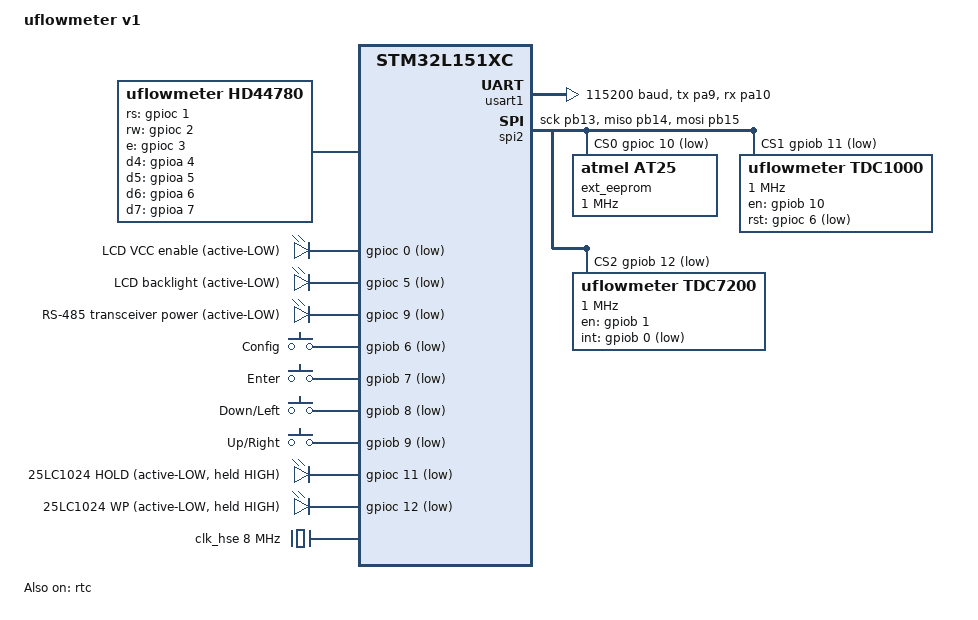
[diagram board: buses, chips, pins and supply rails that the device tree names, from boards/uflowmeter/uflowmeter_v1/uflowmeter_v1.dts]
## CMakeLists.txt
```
# SPDX-License-Identifier: Apache-2.0
#
# Top-level CMakeLists for the uflowmeter Zephyr application.
# Custom board lives in boards/arm/uflowmeter_v1/.

cmake_minimum_required(VERSION 3.20.0)

# Tell Zephyr to look for our custom board before the upstream tree.
list(APPEND BOARD_ROOT ${CMAKE_CURRENT_SOURCE_DIR})
list(APPEND DTS_ROOT   ${CMAKE_CURRENT_SOURCE_DIR})

find_package(Zephyr REQUIRED HINTS $ENV{ZEPHYR_BASE})
project(uflowmeter LANGUAGES C CXX)

target_sources(app PRIVATE
    src/main.cpp
    src/calibration.cpp
    src/crc.cpp
    src/datetime.cpp
    src/history.cpp
    src/mco.cpp
    src/measurement.cpp
    # history_lib.hpp is template-only — header-included by history.cpp
    src/modbus.cpp
    src/modbus_handler.cpp
    src/options.cpp
    src/shell.cpp
    src/power.cpp
    src/timer/uflowmeter_rtc_timer.c
    src/drivers/cyrillic.cpp
    src/drivers/eeprom_power.cpp
    src/drivers/hd44780.cpp
    src/drivers/keypad.cpp
    src/drivers/tdc1000.cpp
    src/drivers/tdc7200.cpp
    src/drivers/uart.cpp
    src/ui/events.cpp
    src/ui/menu_controller.cpp
    src/ui/menu_list.cpp
    src/ui/render.cpp
)

target_include_directories(app PRIVATE
    ${CMAKE_CURRENT_SOURCE_DIR}/include    # vendored zpp/ headers
    ${CMAKE_CURRENT_SOURCE_DIR}/src
)
```

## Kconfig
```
# Application-specific Kconfig — empty for now. Re-introduce module-level
# toggles (e.g. UFLOWMETER_ENABLE_MODBUS, UFLOWMETER_MOCK_TDC) when those
# subsystems land.

mainmenu "uflowmeter"

source "Kconfig.zephyr"
```

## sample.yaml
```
sample:
  name: uflowmeter
  description: Ultrasonic flow meter firmware for the STM32L151RC custom board

tests:
  app.uflowmeter:
    platform_allow:
      - uflowmeter_v1
    integration_platforms:
      - uflowmeter_v1
    tags:
      - uflowmeter
```

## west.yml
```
# west manifest for the uflowmeter Zephyr application.
#
# T2-star layout: this repository IS the application. west fetches Zephyr +
# HALs as siblings (../zephyr, ../modules/...) into the workspace.
#
# Pin Zephyr to v3.7 LTS — that's the line that still builds against zpp
# (lowlander/zpp last touched Zephyr 3.x APIs in Jan 2023). Bump after we
# verify zpp compiles on a newer release.

manifest:
  version: "0.13"

  remotes:
    - name: zephyrproject-rtos
      url-base: https://github.com/zephyrproject-rtos

  defaults:
    remote: zephyrproject-rtos

  projects:
    - name: zephyr
      repo-path: zephyr
      revision: v3.7.0
      import:
        # Only pull modules we actually need (keeps workspace lean on this
        # constrained host). HAL_STM32 is required for the STM32L1 SoC
        # support; cmsis is required by every ARM port; hal_cmsis_6 only
        # comes in via cmsis itself.
        name-allowlist:
          - cmsis
          - hal_stm32
          - segger
          - picolibc
```

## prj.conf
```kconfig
# Application Kconfig fragment — applied on top of the board defconfig.

# --- C++ runtime ---------------------------------------------------------
CONFIG_CPP=y
CONFIG_STD_CPP20=y                # zpp requires C++20
CONFIG_REQUIRES_FULL_LIBC=y
CONFIG_NEWLIB_LIBC=y              # picolibc is lighter but newlib has
                                  # the strongest C++ stdlib support today
CONFIG_REQUIRES_FULL_LIBCPP=y     # pulls in <cstdio>, <atomic>, <optional>
                                  # via the GLIBCXX_LIBCPP default selector

# --- Peripherals --------------------------------------------------------
CONFIG_GPIO=y
CONFIG_SPI=y
CONFIG_EEPROM=y
CONFIG_EEPROM_AT25=y

# --- System services ----------------------------------------------------
CONFIG_REBOOT=y                   # sys_reboot() used by Bootloader screen
                                  # Enter (via AppRequest::SystemReset)

# --- Diagnostics ---------------------------------------------------------
CONFIG_LOG=y
CONFIG_LOG_MODE_DEFERRED=y
CONFIG_PRINTK=y
CONFIG_CBPRINTF_FP_SUPPORT=n      # save flash; no floating-point logs
CONFIG_LOG_RUNTIME_FILTERING=y    # shell `set_verbose 0|1` flips the
                                  # runtime log level across all sources
                                  # via log_filter_set (see uart.cpp
                                  # dispatch_shell_action)

# --- Power management ---------------------------------------------------
# Re-enabled in commit-that-unblocks-PM-gap. Zephyr 4.4 has full L1
# PM support upstream (soc/st/stm32/stm32l1x/power.c, by Oleh Kravchenko)
# — no patch needed. Earlier CONFIG_PM=n was a 4.1.99 workaround
# (HAS_PM wasn't declared for L1 there).
#
# Our src/power.cpp pm_state_set / pm_state_exit_post_ops are STRONG
# symbols that override Zephyr's __weak L1 implementations — keeps the
# LCD power-gating (VCC + backlight off pre-STOP, re-init on wake)
# while delegating clock restoration to stm32_clock_control_init via
# the same in-function logic.
CONFIG_PM=y
CONFIG_PM_DEVICE=n                # per-device runtime PM — not used yet
CONFIG_PM_STATS=n                 # instrumentation overhead — off

# Tickless requires TICKLESS_CAPABLE, selected by our board Kconfig
# (boards/uflowmeter/uflowmeter_v1/Kconfig.uflowmeter_v1) because our
# custom RTC sys_clock driver provides the full tickless API.
CONFIG_TICKLESS_KERNEL=y

# --- System clock driver ------------------------------------------------
# Replace the default Cortex-M SysTick driver with our RTC-backed
# implementation in src/timer/uflowmeter_rtc_timer.c. SysTick stops in
# STOP mode; RTC keeps running off LSI through STOP, which is what
# makes k_sleep() survive STOP for us.
CONFIG_CORTEX_M_SYSTICK=n
CONFIG_SYS_CLOCK_HW_CYCLES_PER_SEC=1024
CONFIG_SYS_CLOCK_TICKS_PER_SEC=1024

# We talk to the STM32 RTC + PWR + EXTI registers directly via CMSIS
# headers (stm32l1xx.h) in src/power.cpp + src/timer/. The Zephyr
# stm32 RTC driver would conflict — keep it off.
CONFIG_RTC=n

# --- Clocks --------------------------------------------------------------
# STM32L1 has a documented instability above 16 MHz with shell + SysTick
# (Zephyr issue #22078). The board defconfig already pins SYSCLK at
# 16 MHz from HSE×2 via PLL; don't override here.

# --- Heap / stack -------------------------------------------------------
CONFIG_HEAP_MEM_POOL_SIZE=2048
CONFIG_MAIN_STACK_SIZE=2048
CONFIG_SYSTEM_WORKQUEUE_STACK_SIZE=2048
CONFIG_ISR_STACK_SIZE=1024
```

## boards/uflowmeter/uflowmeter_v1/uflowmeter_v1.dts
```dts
/*
 * SPDX-License-Identifier: Apache-2.0
 *
 * uflowmeter v1 — custom ultrasonic-flow-meter board built around an
 * STM32L151RC (Cortex-M3, 256 KB flash, 32 KB SRAM).
 *
 * Pin map sourced from the embassy port at rework/embassy:src/main.rs
 * lines 117–301. Every assignment here is mirrored in
 * src/pinout.hpp — keep them in sync.
 */

/dts-v1/;
#include <st/l1/stm32l151Xc.dtsi>
#include <st/l1/stm32l151rctx-pinctrl.dtsi>
#include <zephyr/dt-bindings/input/input-event-codes.h>

/ {
	model = "uflowmeter v1";
	compatible = "uflowmeter,uflowmeter-v1";

	chosen {
		zephyr,console      = &usart1;
		zephyr,shell-uart   = &usart1;
		zephyr,sram         = &sram0;
		zephyr,flash        = &flash0;
		uflowmeter,lcd      = &hd44780;
		uflowmeter,keypad   = &keypad;
		uflowmeter,eeprom   = &ext_eeprom;
		uflowmeter,tdc1000  = &tdc1000;
		uflowmeter,tdc7200  = &tdc7200;
	};

	aliases {
		lcd-power = &lcd_power;
		lcd-backlight = &backlight;
	};

	/*
	 * The HD44780 LCD is wired up as a child node with a custom binding
	 * (dts/bindings/display/uflowmeter,hd44780.yaml). Power + backlight
	 * are surfaced separately as gpio-leds so app code can toggle them
	 * during idle-mode power-gating without owning the LCD driver.
	 */
	hd44780: hd44780 {
		compatible = "uflowmeter,hd44780";
		rs-gpios = <&gpioc 1 GPIO_ACTIVE_HIGH>;
		rw-gpios = <&gpioc 2 GPIO_ACTIVE_HIGH>;
		e-gpios  = <&gpioc 3 GPIO_ACTIVE_HIGH>;
		d4-gpios = <&gpioa 4 GPIO_ACTIVE_HIGH>;
		d5-gpios = <&gpioa 5 GPIO_ACTIVE_HIGH>;
		d6-gpios = <&gpioa 6 GPIO_ACTIVE_HIGH>;
		d7-gpios = <&gpioa 7 GPIO_ACTIVE_HIGH>;
		rows = <2>;
		cols = <16>;
		status = "okay";
	};

	/* Power rails as gpio-leds so they're trivial to toggle from C++. */
	rails {
		compatible = "gpio-leds";
		lcd_power: lcd_power {
			gpios = <&gpioc 0 GPIO_ACTIVE_LOW>;
			label = "LCD VCC enable (active-LOW)";
		};
		backlight: backlight {
			gpios = <&gpioc 5 GPIO_ACTIVE_LOW>;
			label = "LCD backlight (active-LOW)";
		};
		/*
		 * RS-485 transceiver power for USART1. Held LOW = transceiver
		 * powered. Declared so we can flip it via a single GPIO API
		 * call later when Modbus comes online.
		 */
		rs485_power: rs485_power {
			gpios = <&gpioc 9 GPIO_ACTIVE_LOW>;
			label = "RS-485 transceiver power (active-LOW)";
		};
	};

	keypad: keypad {
		compatible = "gpio-keys";
		btn_config: button_config {
			label = "Config";
			gpios = <&gpiob 6 (GPIO_ACTIVE_LOW | GPIO_PULL_UP)>;
			zephyr,code = <INPUT_KEY_MENU>;
		};
		btn_enter: button_enter {
			label = "Enter";
			gpios = <&gpiob 7 (GPIO_ACTIVE_LOW | GPIO_PULL_UP)>;
			zephyr,code = <INPUT_KEY_ENTER>;
		};
		btn_down: button_down {
			/* UI convention maps this to LEFT (see CLAUDE.md). */
			label = "Down/Left";
			gpios = <&gpiob 8 (GPIO_ACTIVE_LOW | GPIO_PULL_UP)>;
			zephyr,code = <INPUT_KEY_LEFT>;
		};
		btn_up: button_up {
			label = "Up/Right";
			gpios = <&gpiob 9 (GPIO_ACTIVE_LOW | GPIO_PULL_UP)>;
			zephyr,code = <INPUT_KEY_RIGHT>;
		};
	};

	/*
	 * EEPROM HOLD (PC11) and WP (PC12) are active-LOW; we hold both
	 * lines HIGH at boot via gpio-leds (default "off" state on
	 * active-LOW pins drives the line electrically HIGH = write-
	 * enabled / data-clocked). These need to be live before any
	 * SPI transaction so the chip doesn't latch wrong state.
	 */
	eeprom_pins {
		compatible = "gpio-leds";
		eeprom_hold: eeprom_hold {
			gpios = <&gpioc 11 GPIO_ACTIVE_LOW>;
			label = "25LC1024 HOLD (active-LOW, held HIGH)";
		};
		eeprom_wp: eeprom_wp {
			gpios = <&gpioc 12 GPIO_ACTIVE_LOW>;
			label = "25LC1024 WP (active-LOW, held HIGH)";
		};
	};

};

/*
 * Power states — SUSPEND_TO_IDLE maps to STM32L1 STOP via the hooks
 * in src/power.cpp. min-residency-us is the threshold below which the
 * default PM policy stays in plain idle (WFI without deep-sleep);
 * 2 ms covers the LCD re-init cost on wake (~50 ms) so we don't STOP
 * for sub-millisecond k_sleeps that happen during driver setup.
 *
 * exit-latency-us is documentational — the PM policy uses it to bias
 * state selection but the kernel doesn't enforce it. Real wake-to-
 * userspace latency is the LCD re-init + HSE/PLL restore ≈ 51 ms.
 */
&cpu0 {
	cpu-power-states = <&stop_mode>;
};

/ {
	power-states {
		stop_mode: stop_mode {
			compatible = "zephyr,power-state";
			power-state-name = "suspend-to-idle";
			min-residency-us = <2000>;
			exit-latency-us  = <51000>;
		};
	};
};

/* LSI: low-speed internal RC (~37 kHz). Drives the RTC + WUT; survives
 * STOP mode. Accuracy is ±10-15% uncalibrated; sleep duration drifts
 * accordingly. */
&clk_lsi {
	status = "okay";
};

/*
 * Clock tree: 8 MHz HSE crystal → MCO out on PA8 at /1 (drives TDC chips).
 * SYSCLK on HSE×2/1 via PLL = 16 MHz (Zephyr issue #22078: do NOT exceed
 * 16 MHz on L1 with shell + SysTick).
 */
&clk_hse {
	status = "okay";
	clock-frequency = <DT_FREQ_M(8)>;
};

&pll {
	div = <3>;            /* HSE 8 MHz / 3 */
	mul = <6>;            /* × 6 = 16 MHz VCO out */
	clocks = <&clk_hse>;
	status = "okay";
};

&rcc {
	clocks = <&pll>;
	clock-frequency = <DT_FREQ_M(16)>;
	ahb-prescaler = <1>;
	apb1-prescaler = <1>;
	apb2-prescaler = <1>;
};

/* MCO output on PA8 — HSE/1 = 8 MHz reference for TDC chips. Zephyr's
 * stm32-clock-mco binding exists on L4+ but NOT on L1 in upstream
 * 4.1, so we configure RCC->CFGR.MCOSEL + GPIOA PA8 AF0 from C++ at
 * boot (see src/main.cpp). PA8 is otherwise unused — declaring it
 * here would just collide with the runtime configuration. */

/* USART1: TX=PA9, RX=PA10. 115200 baud. Console for now; Modbus later. */
&usart1 {
	pinctrl-0 = <&usart1_tx_pa9 &usart1_rx_pa10>;
	pinctrl-names = "default";
	current-speed = <115200>;
	status = "okay";
};

/*
 * SPI2 shared bus: SCK=PB13, MISO=PB14, MOSI=PB15.
 * Three chip-selects committed in the cs-gpios array — only EEPROM has a
 * child node so far; TDC1000 (reg=1) and TDC7200 (reg=2) land in the
 * follow-up TDC commit.
 */
&spi2 {
	pinctrl-0 = <&spi2_sck_pb13 &spi2_miso_pb14 &spi2_mosi_pb15>;
	pinctrl-names = "default";
	cs-gpios = <&gpioc 10 GPIO_ACTIVE_LOW>,  /* 25LC1024 EEPROM */
		   <&gpiob 11 GPIO_ACTIVE_LOW>,  /* TDC1000 (reserved) */
		   <&gpiob 12 GPIO_ACTIVE_LOW>;  /* TDC7200 (reserved) */
	status = "okay";

	ext_eeprom: eeprom@0 {
		/*
		 * 25LC1024 is command-compatible with the Atmel AT25 family
		 * (READ 0x03 / WRITE 0x02 / WREN 0x06 / RDSR 0x05). Zephyr's
		 * atmel,at25 driver handles page-split writes and WIP polling
		 * — no custom driver needed.
		 */
		compatible = "atmel,at25";
		reg = <0>;
		spi-max-frequency = <DT_FREQ_M(1)>;
		size = <DT_SIZE_K(1024)>;        /* 128 KB = 1024 Kbit */
		pagesize = <256>;
		address-width = <24>;
		timeout = <5>;                   /* WIP poll timeout, ms */
		status = "okay";
	};

	tdc1000: tdc1000@1 {
		compatible = "uflowmeter,tdc1000";
		reg = <1>;
		spi-max-frequency = <DT_FREQ_M(1)>;
		en-gpios  = <&gpiob 10 GPIO_ACTIVE_HIGH>;
		rst-gpios = <&gpioc 6  GPIO_ACTIVE_LOW>;
		status = "okay";
	};

	tdc7200: tdc7200@2 {
		compatible = "uflowmeter,tdc7200";
		reg = <2>;
		spi-max-frequency = <DT_FREQ_M(1)>;
		en-gpios  = <&gpiob 1 GPIO_ACTIVE_HIGH>;
		int-gpios = <&gpiob 0 (GPIO_ACTIVE_LOW | GPIO_PULL_UP)>;
		status = "okay";
	};
};

/* RTC: STM32L1 internal, LSI-clocked. Backup registers usable.
 * Zephyr's stm32 rtc driver is OFF (CONFIG_RTC=n in prj.conf) — we
 * manage the RTC directly from src/timer/uflowmeter_rtc_timer.c
 * because it doubles as the kernel system clock. The node stays
 * `okay` so the pinctrl + interrupt declarations resolve. */
&rtc {
	status = "okay";
	clocks = <&rcc STM32_CLOCK_BUS_APB1 0x10000000>,
		 <&rcc STM32_SRC_LSI RTC_SEL(2)>;
};

/*
 * Override flash/SRAM sizes for the C variant — the upstream dtsi targets
 * the largest die in the family.
 */
&flash0 {
	reg = <0x08000000 DT_SIZE_K(256)>;
};

&sram0 {
	reg = <0x20000000 DT_SIZE_K(32)>;
};
```

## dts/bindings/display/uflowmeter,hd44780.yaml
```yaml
# SPDX-License-Identifier: Apache-2.0
#
# Binding for an HD44780-class character LCD wired up in 4-bit parallel
# mode. RW is optional — if you tied it to ground in hardware just leave
# the rw-gpios property out.

description: HD44780-compatible character LCD (4-bit parallel)

compatible: "uflowmeter,hd44780"

properties:
  rs-gpios:
    type: phandle-array
    required: true
    description: Register Select line.

  rw-gpios:
    type: phandle-array
    required: false
    description: |
      Read/Write line. Optional — omit if your hardware ties RW to
      ground (write-only mode).

  e-gpios:
    type: phandle-array
    required: true
    description: Enable strobe.

  d4-gpios:
    type: phandle-array
    required: true
  d5-gpios:
    type: phandle-array
    required: true
  d6-gpios:
    type: phandle-array
    required: true
  d7-gpios:
    type: phandle-array
    required: true

  rows:
    type: int
    required: true
    description: Display row count (typically 1, 2, or 4).

  cols:
    type: int
    required: true
    description: Display column count (typically 16 or 20).
```

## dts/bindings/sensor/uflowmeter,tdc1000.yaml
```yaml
# SPDX-License-Identifier: Apache-2.0
#
# TDC1000 — ultrasonic analog front-end (TI). 7-bit register space, SPI
# command byte format: bit 7 = R/W (1 = write), bits 6:0 = address.
#
# Wired as a SPI device on the shared &spi2 bus. Additional pins:
#   en-gpios  — chip enable, active-HIGH, held LOW between measurements
#               to save ~0.5 mA continuous (chip loses all register
#               state when EN drops — driver re-loads from Options on
#               each power-on).
#   rst-gpios — active-LOW reset, held HIGH for normal operation.

description: TDC1000 ultrasonic analog front-end

compatible: "uflowmeter,tdc1000"

include: spi-device.yaml

properties:
  en-gpios:
    type: phandle-array
    required: true
    description: Chip enable (active-HIGH). LOW = chip powered down.

  rst-gpios:
    type: phandle-array
    required: true
    description: Reset (active-LOW). HIGH = normal operation.
```

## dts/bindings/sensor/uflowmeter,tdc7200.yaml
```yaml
# SPDX-License-Identifier: Apache-2.0
#
# TDC7200 — time-to-digital converter (TI). 5-bit register space, SPI
# command byte format: bits 4:0 = address, bit 6 = auto-increment,
# bit 7 = R/W (1 = write). Note: the auto-inc bit means register
# bursts MUST set bit 6 or every byte after the first is silently
# discarded.
#
# Wired as a SPI device on the shared &spi2 bus. Additional pins:
#   en-gpios  — chip enable, active-HIGH, held LOW between measurements
#               (~0.5 mA savings, register state lost on power-down).
#   int-gpios — measurement-complete interrupt (active-LOW), wires to
#               EXTI0 (PB0). Falling edge → wake measurement thread
#               via k_sem.

description: TDC7200 time-to-digital converter

compatible: "uflowmeter,tdc7200"

include: spi-device.yaml

properties:
  en-gpios:
    type: phandle-array
    required: true
    description: Chip enable (active-HIGH). LOW = chip powered down.

  int-gpios:
    type: phandle-array
    required: true
    description: Measurement-complete interrupt (active-LOW).
```

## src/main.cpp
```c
/*
 * SPDX-License-Identifier: Apache-2.0
 *
 * uflowmeter — Zephyr port entrypoint.
 *
 * Boot sequence:
 *   1. Init LCD, show "uflowmeter / press any key".
 *   2. Load Options from EEPROM; populate options::g_options.
 *      Defaults on CRC failure.
 *   3. Park EEPROM in deep power-down.
 *   4. Init keypad (PB6-PB9 EXTI).
 *   5. Spawn measurement thread (writes only `latest_flow_m3h`, not
 *      the LCD — the UI owns the display from here on).
 *   6. Arm STOP-mode PM.
 *   7. Construct the UI MenuController and drive the run loop:
 *      block-wait for a keypress (with a 2 s refresh timeout so live
 *      values like flow + uptime update without input). Dispatch the
 *      key through MenuController. Re-render. Repeat.
 *
 * AppRequest dispatch is stubbed for this UI port commit (commit 1
 * of 6) — DeepSleep / SystemReset / EnterCalibration are logged but
 * not acted upon. Wired up alongside the edit-mode + Modbus commits.
 */

#include <cstdio>

#include <zephyr/device.h>
#include <zephyr/kernel.h>
#include <zephyr/logging/log.h>
#include <zephyr/sys/reboot.h>

#include "datetime.hpp"
#include "drivers/eeprom_power.hpp"
#include "drivers/hd44780.hpp"
#include "drivers/keypad.hpp"
#include "drivers/uart.hpp"
#include "history.hpp"
#include "mco.hpp"
#include "measurement.hpp"
#include "options.hpp"
#include "power.hpp"
#include "ui/events.hpp"
#include "ui/menu_controller.hpp"
#include "ui/render.hpp"

LOG_MODULE_REGISTER(main, CONFIG_LOG_DEFAULT_LEVEL);

namespace {

/* 1024-byte scratch buffer for Options load/save. Lives in BSS, not on
 * the main stack (CONFIG_MAIN_STACK_SIZE is 2 KB; a 1 KB on-stack
 * buffer would consume half of it). */
std::uint8_t options_scratch[uflow::options::OPTIONS_PAGE_SIZE];

void render_under_mutex(uflow::ui::MenuController& mc)
{
	k_mutex_lock(&uflow::drivers::lcd_mutex, K_FOREVER);
	uflow::ui::render(mc, uflow::drivers::lcd());
	k_mutex_unlock(&uflow::drivers::lcd_mutex);
}

void handle_app_request(uflow::ui::MenuController& mc,
                        uflow::ui::AppRequest req,
                        const struct device* eeprom,
                        std::uint8_t* scratch)
{
	using uflow::ui::AppRequest;
	auto& opts = uflow::options::g_options;
	const std::uint8_t v = mc.last_edit_value();

	switch (req) {
	case AppRequest::None:
		return;
	case AppRequest::DeepSleep:
		/* No handler needed — Zephyr's PM policy enters STOP from
		 * the idle thread once all threads sleep. This request
		 * exists for symmetry with the embassy port where it
		 * triggered the explicit DeepSleep path. */
		LOG_INF("DeepSleep (idle PM handles STOP)");
		return;
	case AppRequest::EnterCalibration:
		LOG_INF("EnterCalibration → selecting Calibration menu");
		mc.select(uflow::ui::MenuId::Calibration);
		return;
	case AppRequest::SystemReset:
		LOG_INF("SystemReset → sys_reboot in 100 ms");
		k_msleep(100);  /* drain log buffer before reset */
		sys_reboot(SYS_REBOOT_COLD);
		return;
	case AppRequest::SetCommType:
		LOG_INF("SetCommType: %u", v);
		opts.comm_type = v;
		(void)uflow::options::save_through_dp(eeprom, scratch);
		return;
	case AppRequest::SetSlaveAddress:
		LOG_INF("SetSlaveAddress: %u", v);
		opts.slave_address = v;
		(void)uflow::options::save_through_dp(eeprom, scratch);
		return;
	case AppRequest::SetNegative:
		LOG_INF("SetNegative: %u", v);
		opts.enable_negative = v;
		(void)uflow::options::save_through_dp(eeprom, scratch);
		return;
	case AppRequest::SetSensorType:
		LOG_INF("SetSensorType: %u", v);
		opts.sensor_type = v;
		(void)uflow::options::save_through_dp(eeprom, scratch);
		return;
	case AppRequest::SetMuster:
		/* No Options home — log only. State lives on the
		 * MenuController and resets across reboot. */
		LOG_INF("SetMuster (memory-only): %u", v);
		return;
	case AppRequest::SetDateTime: {
		const auto& dt = mc.last_committed_datetime();
		LOG_INF("SetDateTime: %04u-%02u-%02u %02u:%02u:%02u",
			static_cast<unsigned>(dt.year),
			static_cast<unsigned>(dt.month),
			static_cast<unsigned>(dt.day),
			static_cast<unsigned>(dt.hour),
			static_cast<unsigned>(dt.minute),
			static_cast<unsigned>(dt.second));
		uflow::datetime::set(dt);
		/* No EEPROM save — the datetime offset is RAM-only this
		 * commit. Future: persist a baseline timestamp in RTC
		 * backup register so wall-clock survives reboot. */
		return;
	}
	case AppRequest::SetHistory: {
		const auto kind = mc.last_history_kind();
		const std::uint32_t ts = mc.last_history_timestamp();
		const auto flow = uflow::history::query(kind, ts);
		uflow::history::set_last_result(
			uflow::history::QueryResult{kind, ts, flow});
		LOG_INF("SetHistory: kind=%u ts=%u value=%s",
			static_cast<unsigned>(kind), ts,
			flow.has_value() ? "<some>" : "<none>");
		return;
	}
	}
}

} /* namespace */

int main(void)
{
	LOG_INF("uflowmeter (zephyr): boot");

	/* Bring up MCO on PA8 first thing — the TDC1000 + TDC7200
	 * chips need a stable 8 MHz reference before measurement::start
	 * tries to clock them. HSE is already running courtesy of
	 * Zephyr's clock_control init at PRE_KERNEL_2. */
	uflow::mco::init();

	auto& lcd = uflow::drivers::lcd();
	int rc = lcd.init();
	if (rc < 0) {
		LOG_ERR("lcd init failed (%d)", rc);
		return rc;
	}

	const struct device* eeprom = DEVICE_DT_GET(DT_CHOSEN(uflowmeter_eeprom));
	using uflow::options::LoadResult;
	const LoadResult lr = uflow::options::load(
		eeprom, uflow::options::g_options, options_scratch);
	switch (lr) {
	case LoadResult::OkPrimary:
		LOG_INF("options: loaded primary");
		break;
	case LoadResult::OkSecondary:
		LOG_WRN("options: primary corrupt, using secondary");
		break;
	case LoadResult::BothCorrupt:
		LOG_ERR("options: both copies corrupt — using defaults");
		uflow::options::g_options = uflow::options::Options{};
		break;
	case LoadResult::IoError:
		LOG_ERR("options: eeprom IO error — using defaults");
		uflow::options::g_options = uflow::options::Options{};
		break;
	}
	const auto& opts = uflow::options::g_options;
	LOG_INF("options: serial=%u sensor=%u slave_addr=%u comm=%u",
		opts.serial_number, opts.sensor_type,
		opts.slave_address, opts.comm_type);

	/* Load history rings before parking the EEPROM. CRC mismatch on
	 * any ring → that ring starts empty (harmless). */
	rc = uflow::history::init(eeprom);
	if (rc < 0) {
		LOG_ERR("history init failed (%d) — rings will be unavailable", rc);
	}

	rc = uflow::drivers::eeprom_enter_deep_power_down();
	if (rc < 0) {
		LOG_WRN("eeprom DP entry failed (%d) — chip stays in standby", rc);
	} else {
		LOG_INF("eeprom: deep power-down");
	}

	(void)uflow::history::start();
	(void)uflow::drivers::uart::start();

	rc = uflow::drivers::keypad_init();
	if (rc < 0) {
		LOG_ERR("keypad init failed (%d)", rc);
		return rc;
	}

	rc = uflow::measurement::start();
	if (rc < 0) {
		LOG_ERR("measurement start failed (%d)", rc);
		/* Non-fatal — keep serving keypad + LCD even with no flow. */
	}

	rc = uflow::power::init();
	if (rc < 0) {
		LOG_WRN("power init failed (%d) — STOP mode disabled", rc);
	} else {
		LOG_INF("power: STOP mode armed (RTC WUT wake)");
	}

	/* Datetime — check RTC BKP0 magic, restore live RTC TR/DR or
	 * apply 2024-01-01 baseline. Must run before history_tick reads
	 * datetime::now(). */
	rc = uflow::datetime::init();
	if (rc < 0) {
		LOG_WRN("datetime init failed (%d) — wall clock unreliable", rc);
	}

	uflow::ui::MenuController controller;
	render_under_mutex(controller);

	/* Idle timer. After IDLE_TIMEOUT_MS without keypad input, cut
	 * the LCD + backlight to save the HD44780 standby current
	 * (~0.5 mA) and the backlight LED draw across subsequent STOP
	 * cycles. Next keypress restores. The flag is read by
	 * power.cpp's pm_state_set / pm_state_exit_post_ops to skip
	 * the LCD restore during STOP-mode cycling when the screen is
	 * already parked. */
	constexpr std::int64_t IDLE_TIMEOUT_MS = 15000;
	std::int64_t last_input_ms = k_uptime_get();
	bool lcd_currently_on = true;

	uflow::drivers::KeyEvent ev{};
	for (;;) {
		const k_timeout_t timeout = controller.has_active_field_edit() ?
			K_MSEC(150) : K_MSEC(2000);
		const int kr = uflow::drivers::keypad_recv(ev, timeout);
		const std::int64_t now = k_uptime_get();

		if (kr == 0) {
			last_input_ms = now;
			/* First press after idle — wake the LCD before
			 * doing anything visible with it. */
			if (!lcd_currently_on) {
				k_mutex_lock(&uflow::drivers::lcd_mutex, K_FOREVER);
				uflow::drivers::lcd_power_on();
				(void)uflow::drivers::lcd().init();
				uflow::drivers::lcd_backlight_on();
				k_mutex_unlock(&uflow::drivers::lcd_mutex);
				lcd_currently_on = true;
				uflow::drivers::lcd_user_wants_on = true;
			}
			uflow::ui::UiEvent ui_ev;
			if (uflow::ui::ui_event_from_input_code(ev.code, ui_ev)) {
				const auto req = controller.event(ui_ev);
				handle_app_request(controller, req, eeprom, options_scratch);
			}
		}

		/* Idle-timeout test runs every loop iteration whether key
		 * fired or not — covers both the keyless-2s-timeout path
		 * and the keypress path (last_input_ms just got reset
		 * above so the condition won't trip). */
		if (lcd_currently_on && (now - last_input_ms) >= IDLE_TIMEOUT_MS) {
			k_mutex_lock(&uflow::drivers::lcd_mutex, K_FOREVER);
			uflow::drivers::lcd_backlight_off();
			uflow::drivers::lcd_power_off();
			k_mutex_unlock(&uflow::drivers::lcd_mutex);
			lcd_currently_on = false;
			uflow::drivers::lcd_user_wants_on = false;
			LOG_INF("LCD parked (idle %lld ms)",
				static_cast<long long>(now - last_input_ms));
		}

		/* Only render when the screen is actually visible — saves
		 * the back-and-forth across lcd_mutex for the parked
		 * window. The first post-wake render happens via the
		 * keypress branch above which already re-inits LCD. */
		if (lcd_currently_on) {
			render_under_mutex(controller);
		}
	}
}
```

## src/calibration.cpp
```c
/*
 * SPDX-License-Identifier: Apache-2.0
 *
 * Calibration math. See calibration.hpp for the model. Algorithm is
 * a 1:1 port of rework/embassy:src/calibration.rs apply_ratio —
 * keep the four-zone structure unchanged; field-deployed units rely
 * on it byte-equivalent.
 */

#include "calibration.hpp"

#include <cmath>

namespace uflow::calibration {

float Calculator::get_raw_volume(const CalibTable& tbl, float tof_up, float tof_down) const
{
	if (!check_tof(static_cast<std::uint32_t>(tof_up)) ||
	    !check_tof(static_cast<std::uint32_t>(tof_down))) {
		return 0.0f;
	}

	const float sum_tof = tof_up + tof_down;
	const float dtof    = tof_up - tof_down;
	const float vm      = ((dtof - tbl.dtof0) * cfg_.const_val) / (sum_tof * sum_tof);
	return vm * 3600.0f;
}

float Calculator::get_volume(const CalibTable& tbl, float tof_up, float tof_down) const
{
	return apply_ratio(tbl, get_raw_volume(tbl, tof_up, tof_down));
}

float Calculator::apply_ratio(const CalibTable& tbl, float val) const
{
	const float k0 = tbl.data[0].k;
	const float k1 = tbl.data[1].k;
	const float k2 = tbl.data[2].k;
	const float v0 = tbl.data[0].v;
	const float v1 = tbl.data[1].v;
	const float v2 = tbl.data[2].v;

	/* Dead zone: positive side of zero, below vmin. */
	if (val < cfg_.vmin && val > cfg_.vneg) {
		return 0.0f;
	}

	/* Zone 1 — |val| < V0: constant K0. */
	if (val < v0 && val > -v0) {
		return val * k0;
	}

	/* Zone 2 — |val| < V1: interpolate K0 → K1. */
	if (val < v1 && val > -v1) {
		const float denom = v1 - v0;
		if (std::fabs(denom) < 1e-7f) {
			return val * k0;
		}
		return val * (k0 + (k1 - k0) * ((val - v0) / denom));
	}

	/* Zone 3 — |val| < V2: interpolate K1 → K2. */
	if (val < v2 && val > -v2) {
		const float denom = v2 - v1;
		if (std::fabs(denom) < 1e-7f) {
			return val * k1;
		}
		return val * (k1 + (k2 - k1) * ((val - v1) / denom));
	}

	/* Zone 4 — within vmax: constant K2. */
	if (val < cfg_.vmax && val > -cfg_.vmax) {
		return val * k2;
	}

	/* Clamp at vmax / -vmax. */
	return (val >= 0.0f) ? cfg_.vmax : -cfg_.vmax;
}

} /* namespace uflow::calibration */
```

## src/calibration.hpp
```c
/*
 * SPDX-License-Identifier: Apache-2.0
 *
 * Ultrasonic flow-rate calibration.
 *
 * Direct port of rework/embassy:src/calibration.rs (which itself was a
 * port of the legacy C++ calibration.hpp / calculator.hpp). No
 * runtime dependencies — pure floating-point math.
 *
 * Concept:
 *   - Each measurement cycle gives us a pair of times-of-flight
 *     (upstream + downstream) in nanoseconds.
 *   - dTOF = tof_up - tof_down, sum = tof_up + tof_down.
 *   - Raw volume = ((dTOF - dTOF0) * const_val) / sum² × 3600  [m³/h]
 *     where const_val = L² / (2·cos α) (pipe geometry).
 *   - Calibrated volume applies a piecewise-linear correction K
 *     across three reference volumes V0 < V1 < V2.
 *
 * The piecewise-linear table mirrors the production C++ field
 * units' calibration format — do not change without re-calibrating
 * existing units (the table is persisted in EEPROM Options).
 */

#pragma once

#include <cstdint>

namespace uflow::calibration {

struct CalibData {
	float v;  /* m³/h at this calibration point */
	float k;  /* correction ratio = V_reference / V_measured */
};

struct CalibTable {
	float dtof0;            /* zero offset on dTOF (ns), per channel */
	CalibData data[3];      /* three calibration points V0 < V1 < V2 */
};

struct MeterConfig {
	float const_val;        /* speed-of-sound geometry constant L²/(2·cos α) */
	float vneg;             /* negative-flow threshold (m³/h) */
	float vmin;             /* dead-zone lower bound (m³/h) */
	float vmax;             /* clamp ceiling (m³/h) */
	std::uint32_t tof_min;  /* lower TOF validity bound (timer ticks) */
	std::uint32_t tof_max;  /* upper TOF validity bound */

	/* Defaults match Rust MeterConfig::default. Uncalibrated unit
	 * has const_val=0 → calculator returns 0, matching the production
	 * "no flow until calibrated" behavior. */
	static constexpr MeterConfig defaults()
	{
		return MeterConfig{
			.const_val = 0.0f,
			.vneg      = -0.01f,
			.vmin      = 0.01f,
			.vmax      = 500.0f,
			.tof_min   = 100,
			.tof_max   = 5'000'000,
		};
	}
};

class Calculator {
public:
	explicit Calculator(MeterConfig cfg) : cfg_{cfg} {}

	/* Raw flow rate from a single TOF pair (m³/h). Returns 0.0 if
	 * either TOF falls outside [tof_min, tof_max]. */
	float get_raw_volume(const CalibTable& tbl, float tof_up, float tof_down) const;

	/* Calibrated flow rate — applies the piecewise-linear K
	 * correction on top of the raw volume. */
	float get_volume(const CalibTable& tbl, float tof_up, float tof_down) const;

	/* Apply the K table to a pre-computed raw volume. Exposed
	 * separately so callers can run it on cached values without
	 * re-doing the TOF math. */
	float apply_ratio(const CalibTable& tbl, float val) const;

	const MeterConfig& config() const { return cfg_; }

private:
	bool check_tof(std::uint32_t tof) const
	{
		return tof >= cfg_.tof_min && tof <= cfg_.tof_max;
	}

	MeterConfig cfg_;
};

} /* namespace uflow::calibration */
```

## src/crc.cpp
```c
/*
 * SPDX-License-Identifier: Apache-2.0
 */

#include "crc.hpp"

namespace uflow::crc {

std::uint16_t crc16_ccitt_false(const std::uint8_t* data, std::size_t len)
{
	std::uint16_t crc = 0xFFFF;
	for (std::size_t i = 0; i < len; i++) {
		crc ^= static_cast<std::uint16_t>(data[i]) << 8;
		for (int j = 0; j < 8; j++) {
			crc = (crc & 0x8000)
				? static_cast<std::uint16_t>((crc << 1) ^ 0x1021)
				: static_cast<std::uint16_t>(crc << 1);
		}
	}
	return crc;
}

} /* namespace uflow::crc */
```

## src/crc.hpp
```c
/*
 * SPDX-License-Identifier: Apache-2.0
 *
 * CRC primitives — pure logic, no Zephyr or hardware dependencies,
 * so the test build can compile + exercise them on the host.
 *
 * Used by:
 *   - src/options.cpp        — dual-page Options layout CRC
 *   - src/history_lib.hpp    — RingStorage ServiceData CRC
 *
 * Modbus uses a DIFFERENT polynomial (0xA001 reflected, init 0xFFFF,
 * LE byte order on wire) — see src/modbus.cpp::crc16_modbus. Two
 * CRCs with similar-looking names; keep clear.
 *
 * CRC16-CCITT-FALSE:
 *   polynomial = 0x1021
 *   init       = 0xFFFF
 *   refIn      = false
 *   refOut     = false
 *   xorOut     = 0x0000
 *   check      = 0x29B1 for "123456789"
 */

#pragma once

#include <cstddef>
#include <cstdint>

namespace uflow::crc {

std::uint16_t crc16_ccitt_false(const std::uint8_t* data, std::size_t len);

} /* namespace uflow::crc */
```

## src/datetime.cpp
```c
/*
 * SPDX-License-Identifier: Apache-2.0
 *
 * Wall-clock datetime backed by the STM32L1 RTC TR (Time) and DR
 * (Date) registers.
 *
 * Why direct CMSIS register access: our sys_clock driver in
 * src/timer/uflowmeter_rtc_timer.c already owns the RTC for kernel
 * timekeeping (subseconds counter + WUT for tickless wakes). It
 * configured PREDIV_A/PREDIV_S at PRE_KERNEL_2 + unlocked the backup
 * domain (PWR.DBP). The TR/DR + BKP registers are untouched and
 * available to us as a parallel concern — calendar time-of-day vs the
 * kernel's monotonic uptime.
 *
 * The Zephyr stm32 rtc driver is OFF (CONFIG_RTC=n) because the
 * sys_clock driver claims the chip; we manage TR/DR directly here.
 *
 * Persistence model:
 *   - RTC TR/DR auto-update from the 1 Hz ck_spre tick.
 *   - They survive STOP mode (RTC runs from LSI throughout).
 *   - They survive RESET when VBAT is present (backup domain).
 *   - On a cold boot without VBAT, TR/DR is 00:00 on 01-Jan-2000.
 *
 * BKP0R holds a magic value (0x44544D45 "DTME") indicating the
 * calendar has been initialized to something meaningful. init()
 * checks the magic — if absent, sets TR/DR to 2024-01-01 00:00:00
 * and stamps the magic so subsequent boots load the live RTC.
 *
 * BCD layout per STM32L1 RM0038:
 *   TR  bits  3:0 = SU (second units, 0..9)
 *             6:4 = ST (second tens, 0..5)
 *            11:8 = MNU (minute units)
 *           14:12 = MNT (minute tens)
 *           19:16 = HU (hour units)
 *           21:20 = HT (hour tens, 0..2)
 *              22 = PM (we use 24-hour mode → ignored)
 *   DR  bits  3:0 = DU (day units)
 *             5:4 = DT (day tens, 0..3)
 *            11:8 = MU (month units)
 *              12 = MT (month tens, 0..1)
 *           15:13 = WDU (weekday — we don't track, write 1)
 *           19:16 = YU (year units)
 *           23:20 = YT (year tens, 0..9)
 *
 * Year is stored modulo 100 (00..99 → 2000..2099). Range matches
 * YEAR_MIN/MAX in datetime.hpp.
 */

#include "datetime.hpp"

#include <stm32l1xx.h>

#include <zephyr/kernel.h>
#include <zephyr/logging/log.h>

LOG_MODULE_REGISTER(datetime, CONFIG_LOG_DEFAULT_LEVEL);

namespace uflow::datetime {

namespace {

constexpr std::uint32_t MAGIC = 0x44544D45u;  /* "EMTD" little-endian "DTME" */

constexpr std::uint8_t DAYS_PER_MONTH[] = {
	31, 28, 31, 30, 31, 30, 31, 31, 30, 31, 30, 31,
};

inline std::uint8_t bin_to_bcd(std::uint8_t v)
{
	return static_cast<std::uint8_t>(((v / 10) << 4) | (v % 10));
}

inline std::uint8_t bcd_to_bin(std::uint8_t v)
{
	return static_cast<std::uint8_t>(((v >> 4) * 10) + (v & 0x0Fu));
}

void rtc_unlock()  { RTC->WPR = 0xCAu; RTC->WPR = 0x53u; }
void rtc_lock()    { RTC->WPR = 0xFFu; }

int rtc_enter_init()
{
	RTC->ISR |= RTC_ISR_INIT;
	for (int i = 0; i < 100000; i++) {
		if (RTC->ISR & RTC_ISR_INITF) return 0;
	}
	return -ETIMEDOUT;
}

void rtc_exit_init()  { RTC->ISR &= ~RTC_ISR_INIT; }

/* Wait for RTC shadow registers to refresh (RSF cleared by write,
 * set when shadow is coherent). Required after exiting init mode
 * or after a STOP wake. */
void rtc_wait_for_sync()
{
	RTC->ISR &= ~RTC_ISR_RSF;
	for (int i = 0; i < 100000; i++) {
		if (RTC->ISR & RTC_ISR_RSF) return;
	}
}

DateTimeFields read_rtc_calendar()
{
	/* Read SSR first (unlocks shadow), then TR, then DR. Last
	 * read latches the shadow until next SSR read — required
	 * coherency dance per RM0038 §20.3.8. */
	(void)RTC->SSR;
	const std::uint32_t tr = RTC->TR;
	const std::uint32_t dr = RTC->DR;

	DateTimeFields out{};
	out.second = bcd_to_bin(static_cast<std::uint8_t>(tr & 0x7Fu));
	out.minute = bcd_to_bin(static_cast<std::uint8_t>((tr >> 8) & 0x7Fu));
	out.hour   = bcd_to_bin(static_cast<std::uint8_t>((tr >> 16) & 0x3Fu));
	out.day    = bcd_to_bin(static_cast<std::uint8_t>(dr & 0x3Fu));
	out.month  = bcd_to_bin(static_cast<std::uint8_t>((dr >> 8) & 0x1Fu));
	out.year   = static_cast<std::uint16_t>(
		2000u + bcd_to_bin(static_cast<std::uint8_t>((dr >> 16) & 0xFFu)));
	return out;
}

int write_rtc_calendar(const DateTimeFields& dt)
{
	const std::uint8_t y2 = static_cast<std::uint8_t>(dt.year % 100u);
	const std::uint32_t tr =
		(static_cast<std::uint32_t>(bin_to_bcd(dt.hour))   << 16) |
		(static_cast<std::uint32_t>(bin_to_bcd(dt.minute)) << 8)  |
		(static_cast<std::uint32_t>(bin_to_bcd(dt.second)));
	const std::uint32_t dr =
		(static_cast<std::uint32_t>(bin_to_bcd(y2))        << 16) |
		(static_cast<std::uint32_t>(1u)                    << 13) | /* weekday=Mon */
		(static_cast<std::uint32_t>(bin_to_bcd(dt.month))  << 8)  |
		(static_cast<std::uint32_t>(bin_to_bcd(dt.day)));

	rtc_unlock();
	int rc = rtc_enter_init();
	if (rc < 0) {
		rtc_lock();
		return rc;
	}
	RTC->TR = tr;
	RTC->DR = dr;
	rtc_exit_init();
	rtc_lock();
	rtc_wait_for_sync();

	/* Stamp the magic so a subsequent boot trusts TR/DR even on
	 * a cold reset (with VBAT). Backup domain was unlocked by the
	 * sys_clock driver at PRE_KERNEL_2; PWR.DBP is still set. */
	RTC->BKP0R = MAGIC;
	return 0;
}

K_MUTEX_DEFINE(set_mutex);

DateTimeFields default_baseline()
{
	return DateTimeFields{
		.year = 2024, .month = 1, .day = 1,
		.hour = 0, .minute = 0, .second = 0,
	};
}

} /* namespace */

bool is_leap_year(std::uint16_t year)
{
	return (year % 4 == 0 && year % 100 != 0) || (year % 400 == 0);
}

std::uint8_t days_in_month(std::uint8_t month, std::uint16_t year)
{
	if (month < 1 || month > 12) return 31;
	std::uint8_t d = DAYS_PER_MONTH[month - 1];
	if (month == 2 && is_leap_year(year)) d = 29;
	return d;
}

std::uint32_t to_timestamp(const DateTimeFields& dt)
{
	std::uint32_t days = 0;
	for (std::uint16_t y = YEAR_MIN; y < dt.year; y++) {
		days += is_leap_year(y) ? 366 : 365;
	}
	for (std::uint8_t m = 1; m < dt.month; m++) {
		days += days_in_month(m, dt.year);
	}
	days += static_cast<std::uint32_t>(dt.day - 1);
	return days * 86400u +
	       static_cast<std::uint32_t>(dt.hour) * 3600u +
	       static_cast<std::uint32_t>(dt.minute) * 60u +
	       static_cast<std::uint32_t>(dt.second);
}

DateTimeFields from_timestamp(std::uint32_t ts)
{
	DateTimeFields out{};
	std::uint32_t days = ts / 86400u;
	std::uint32_t rem  = ts % 86400u;
	out.hour   = static_cast<std::uint8_t>(rem / 3600u);
	rem        = rem % 3600u;
	out.minute = static_cast<std::uint8_t>(rem / 60u);
	out.second = static_cast<std::uint8_t>(rem % 60u);

	std::uint16_t year = YEAR_MIN;
	while (true) {
		std::uint32_t y_days = is_leap_year(year) ? 366u : 365u;
		if (days < y_days) break;
		days -= y_days;
		year++;
		if (year > YEAR_MAX) { year = YEAR_MAX; days = 0; break; }
	}
	out.year = year;

	std::uint8_t month = 1;
	while (month <= 12) {
		std::uint8_t dpm = days_in_month(month, year);
		if (days < dpm) break;
		days -= dpm;
		month++;
	}
	out.month = month;
	out.day   = static_cast<std::uint8_t>(days + 1);
	return out;
}

DateTimeFields now()
{
	return read_rtc_calendar();
}

void set(const DateTimeFields& dt)
{
	/* Serialize against the other writer (UI dispatcher and shell
	 * SetDateUnix both reach here). RTC writes require an init-
	 * mode dance that's not atomic with respect to a concurrent
	 * write. */
	k_mutex_lock(&set_mutex, K_FOREVER);
	int rc = write_rtc_calendar(dt);
	k_mutex_unlock(&set_mutex);
	if (rc < 0) {
		LOG_ERR("RTC TR/DR write failed (%d)", rc);
	} else {
		LOG_INF("RTC set: %04u-%02u-%02u %02u:%02u:%02u",
			static_cast<unsigned>(dt.year),
			static_cast<unsigned>(dt.month),
			static_cast<unsigned>(dt.day),
			static_cast<unsigned>(dt.hour),
			static_cast<unsigned>(dt.minute),
			static_cast<unsigned>(dt.second));
	}
}

int init()
{
	const std::uint32_t magic = RTC->BKP0R;
	if (magic == MAGIC) {
		const auto live = read_rtc_calendar();
		LOG_INF("RTC restored: %04u-%02u-%02u %02u:%02u:%02u",
			static_cast<unsigned>(live.year),
			static_cast<unsigned>(live.month),
			static_cast<unsigned>(live.day),
			static_cast<unsigned>(live.hour),
			static_cast<unsigned>(live.minute),
			static_cast<unsigned>(live.second));
		return 0;
	}
	LOG_WRN("RTC BKP0 magic missing (0x%08x) — applying baseline 2024-01-01",
		magic);
	const auto baseline = default_baseline();
	int rc = write_rtc_calendar(baseline);
	if (rc < 0) {
		LOG_ERR("RTC baseline write failed (%d)", rc);
	}
	return rc;
}

void inc_year(DateTimeFields& dt)
{
	if (dt.year < YEAR_MAX) dt.year++;
	const std::uint8_t dpm = days_in_month(dt.month, dt.year);
	if (dt.day > dpm) dt.day = dpm;
}

void dec_year(DateTimeFields& dt)
{
	if (dt.year > YEAR_MIN) dt.year--;
	const std::uint8_t dpm = days_in_month(dt.month, dt.year);
	if (dt.day > dpm) dt.day = dpm;
}

void inc_month(DateTimeFields& dt)
{
	dt.month++;
	if (dt.month > 12) dt.month = 1;
	const std::uint8_t dpm = days_in_month(dt.month, dt.year);
	if (dt.day > dpm) dt.day = dpm;
}

void dec_month(DateTimeFields& dt)
{
	if (dt.month <= 1) dt.month = 12;
	else dt.month--;
	const std::uint8_t dpm = days_in_month(dt.month, dt.year);
	if (dt.day > dpm) dt.day = dpm;
}

void inc_day(DateTimeFields& dt)    { dt = from_timestamp(to_timestamp(dt) + 86400u); }
void dec_day(DateTimeFields& dt)
{
	const std::uint32_t ts = to_timestamp(dt);
	dt = from_timestamp(ts >= 86400u ? ts - 86400u : 0u);
}

void inc_hour(DateTimeFields& dt)   { dt = from_timestamp(to_timestamp(dt) + 3600u); }
void dec_hour(DateTimeFields& dt)
{
	const std::uint32_t ts = to_timestamp(dt);
	dt = from_timestamp(ts >= 3600u ? ts - 3600u : 0u);
}

void inc_minute(DateTimeFields& dt) { dt = from_timestamp(to_timestamp(dt) + 60u); }
void dec_minute(DateTimeFields& dt)
{
	const std::uint32_t ts = to_timestamp(dt);
	dt = from_timestamp(ts >= 60u ? ts - 60u : 0u);
}

void inc_second(DateTimeFields& dt) { dt = from_timestamp(to_timestamp(dt) + 1u); }
void dec_second(DateTimeFields& dt)
{
	const std::uint32_t ts = to_timestamp(dt);
	dt = from_timestamp(ts >= 1u ? ts - 1u : 0u);
}

} /* namespace uflow::datetime */
```

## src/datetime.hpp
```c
/*
 * SPDX-License-Identifier: Apache-2.0
 *
 * Minimal wall-clock datetime. Mirrors the embassy code's use of the
 * `time` crate's PrimitiveDateTime — same field semantics, same
 * per-field arithmetic with day-into-month cascading.
 *
 * Backing this commit: k_uptime_get() + an in-RAM offset. set() anchors
 * the offset so subsequent now() calls reflect the user's input. The
 * offset is lost on reboot and on STOP-mode wake clock-restoration
 * (kernel uptime advances during STOP via the RTC, so the math holds,
 * but a power-on resets us to the build epoch).
 *
 * Future commit will back this with the STM32L1 RTC TR/DR registers
 * via direct CMSIS access (the Zephyr stm32 rtc driver is off because
 * our sys_clock driver owns the chip — see src/timer/uflowmeter_rtc_timer.c).
 */

#pragma once

#include <cstdint>

namespace uflow::datetime {

struct DateTimeFields {
	std::uint16_t year;   /* full year, e.g. 2024 */
	std::uint8_t  month;  /* 1..12 */
	std::uint8_t  day;    /* 1..31 (validated against month/year) */
	std::uint8_t  hour;   /* 0..23 */
	std::uint8_t  minute; /* 0..59 */
	std::uint8_t  second; /* 0..59 */
};

/* Initialize datetime — checks the RTC BKP0 magic; if valid (warm
 * boot with VBAT), trusts the live RTC TR/DR. If invalid (cold boot
 * without VBAT, or first power-on), writes a 2024-01-01 baseline and
 * stamps the magic. Call once from main at boot, before any consumer
 * (history_tick, UI, UART worker) reads now().
 *
 * Returns 0 on success, negative errno if the RTC init-mode write
 * failed (rare — would mean the RTC clock is missing). */
int init();

/* Current wall-clock datetime. Reads RTC TR/DR via direct CMSIS
 * access — sub-microsecond, no mutex needed. */
DateTimeFields now();

/* Anchor the wall clock: writes BCD → RTC TR/DR. Internally serialized
 * with a mutex (multiple writers: UI dispatcher + shell SetDateUnix).
 * Truncated to 1 s resolution. Persists across STOP automatically and
 * across reboot if VBAT is present. */
void set(const DateTimeFields& dt);

/* Per-field arithmetic. inc_day cascades into month/year via the
 * days-in-month table + leap rule; inc_hour cascades into day; etc.
 * dec_X mirrors with underflow cascading. Year is clamped to
 * [YEAR_MIN, YEAR_MAX] without rollover. */
void inc_year(DateTimeFields& dt);
void dec_year(DateTimeFields& dt);
void inc_month(DateTimeFields& dt);
void dec_month(DateTimeFields& dt);
void inc_day(DateTimeFields& dt);
void dec_day(DateTimeFields& dt);
void inc_hour(DateTimeFields& dt);
void dec_hour(DateTimeFields& dt);
void inc_minute(DateTimeFields& dt);
void dec_minute(DateTimeFields& dt);
void inc_second(DateTimeFields& dt);
void dec_second(DateTimeFields& dt);

constexpr std::uint16_t YEAR_MIN = 2000;
constexpr std::uint16_t YEAR_MAX = 2099;

/* Days in `month` for `year` — handles February's leap behavior. */
std::uint8_t days_in_month(std::uint8_t month, std::uint16_t year);

bool is_leap_year(std::uint16_t year);

/* Convert to/from a seconds-since-2000-01-01 timestamp. Used for the
 * EEPROM history ring timestamps in a follow-up commit; exposed here
 * because it's pure-logic adjacent to the field math. */
std::uint32_t to_timestamp(const DateTimeFields& dt);
DateTimeFields from_timestamp(std::uint32_t ts);

} /* namespace uflow::datetime */
```

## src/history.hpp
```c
/*
 * SPDX-License-Identifier: Apache-2.0
 *
 * History query interface — abstracts the three EEPROM ring buffers
 * (Hour / Day / Month accumulators) behind a single
 * "give me the flow value at timestamp T" call.
 *
 * Backing in THIS commit is a stub: query() always returns nullopt
 * and last_result() always reports kind/ts mismatch. The HistoryWidget
 * UI works end-to-end against this stub (user navigates dates, screen
 * shows "None"). The real ring lookup lands in the history-rings
 * commit; the API here is intentionally stable so the swap is
 * source-only.
 *
 * Source for the eventual ring layout:
 *   git show rework/embassy:src/history_lib.rs
 *     - HourHistory:  2160 slots × 3600 s ≈ 90 days
 *     - DayHistory:   1116 slots × 86400 s ≈ 3 years
 *     - MonthHistory:  120 slots × 2592000 s ≈ 10 years
 */

#pragma once

#include <cstdint>
#include <optional>

struct device;

namespace uflow::history {

enum class HistoryType : std::uint8_t {
	Hour = 0,
	Day,
	Month,
};

struct QueryResult {
	HistoryType type;
	std::uint32_t timestamp;            /* seconds since 2000-01-01 */
	std::optional<float> flow;          /* m³ accumulated in slot, or nullopt */
};

/* Look up the slot containing `timestamp` for `type`. Stub today
 * always returns nullopt; preserved interface for the real ring
 * impl. */
std::optional<float> query(HistoryType type, std::uint32_t timestamp);

/* Last computed result — populated by main's SetHistory dispatcher
 * via set_last_result; consumed by the renderer. Returns the
 * default-constructed QueryResult before the first query. */
const QueryResult& last_result();

/* Update the cached last_result. Called by main after each query()
 * so the renderer can read the value on the next refresh tick. */
void set_last_result(const QueryResult& r);

/* Load all three ring buffers from EEPROM. Call once at boot AFTER
 * Options load + BEFORE EEPROM enters deep-power-down. Returns 0 on
 * success — CRC mismatches start that ring fresh (harmless). */
int init(const struct device* eeprom);

/* Spawn the history_tick thread. Idempotent. Reads
 * measurement::latest_flow_m3h every 60 s, accumulates into hour/day/
 * month buckets, writes to the corresponding ring on minute=0 /
 * hour=0 / day=1 boundaries. */
int start();

/* In-flight accumulators — the running sum since the last ring write
 * for each kind. Single-writer (history_tick thread); reads are
 * lock-free and may see a slightly stale value. Used by the Modbus
 * register handler to expose hour/day/month flow over the wire.
 *
 * Units: m³ (each measurement cycle's `latest_flow_m3h` value summed
 * once per minute over the active period). */
float hour_accumulator();
float day_accumulator();
float month_accumulator();

} /* namespace uflow::history */
```
